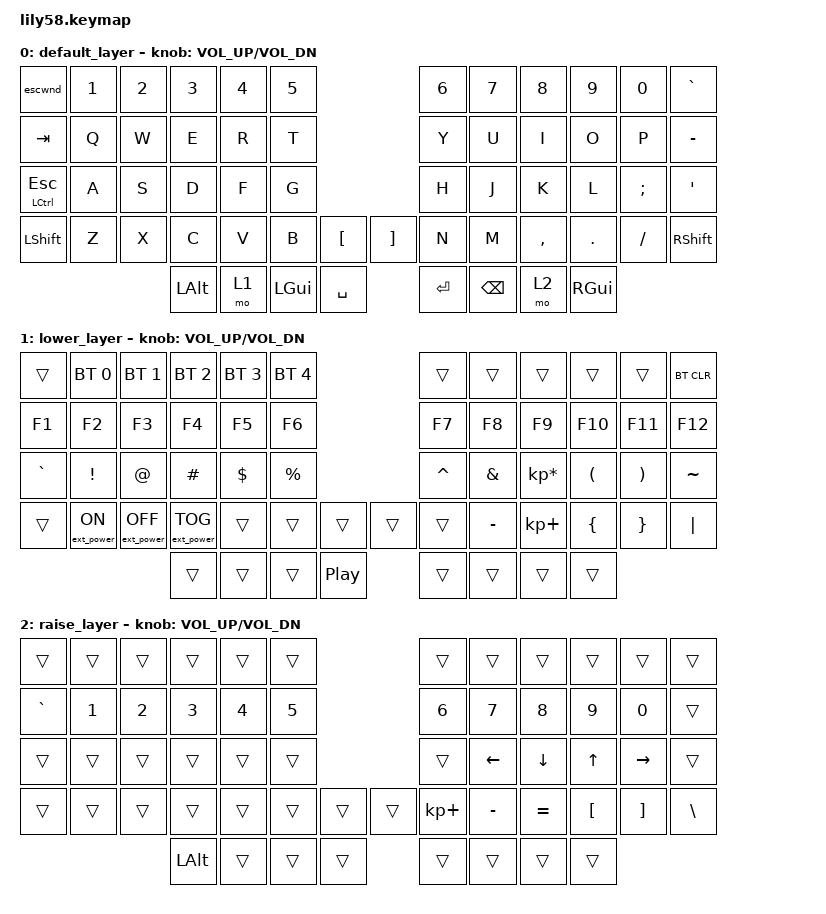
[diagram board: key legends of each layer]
/*
 * Copyright (c) 2020 The ZMK Contributors
 *
 * SPDX-License-Identifier: MIT
 */

#include <behaviors.dtsi>
#include <dt-bindings/zmk/keys.h>
#include <dt-bindings/zmk/bt.h>
#include <dt-bindings/zmk/ext_power.h>

// Sends esc on tap, sends cmd + ` when cmd is held
/ {
    behaviors {
        escwnd: grave_escape {
            compatible = "zmk,behavior-mod-morph";
            label = "ESCAPE_WINDOW";
            #binding-cells = <0>;
            bindings = <&kp ESC>, <&kp GRAVE>;
            mods = <(MOD_LGUI|MOD_LSFT|MOD_RGUI|MOD_RSFT)>;
	    keep-mods = <(MOD_LGUI|MOD_RGUI)>;
        };
    };
};

/ {
	keymap {
		compatible = "zmk,keymap";

		default_layer {
// ------------------------------------------------------------------------------------------------------------
// |  ESC  |  1  |  2  |  3   |  4   |  5   |                   |  6   |  7    |  8    |  9   |   0   |   `   |
// |  TAB  |  Q  |  W  |  E   |  R   |  T   |                   |  Y   |  U    |  I    |  O   |   P   |   -   |
// |  CTRL |  A  |  S  |  D   |  F   |  G   |                   |  H   |  J    |  K    |  L   |   ;   |   '   |
// | SHIFT |  Z  |  X  |  C   |  V   |  B   |   "["  |  |  "]"  |  N   |  M    |  ,    |  .   |   /   | SHIFT |
//                     | ALT  | GUI  | LOWER|  SPACE |  | ENTER | RAISE| BSPC  | GUI   |
			bindings = <
&escwnd       &kp N1 &kp N2 &kp N3   &kp N4   &kp N5                     &kp N6 &kp N7   &kp N8    &kp N9  &kp N0   &kp GRAVE
&kp TAB       &kp Q  &kp W  &kp E    &kp R    &kp T                      &kp Y  &kp U    &kp I     &kp O   &kp P    &kp MINUS
&mt LCTRL ESC &kp A  &kp S  &kp D    &kp F    &kp G                      &kp H  &kp J    &kp K     &kp L   &kp SEMI &kp SQT
&kp LSHFT     &kp Z  &kp X  &kp C    &kp V    &kp B  &kp LBKT   &kp RBKT &kp N  &kp M    &kp COMMA &kp DOT &kp FSLH &kp RSHFT
                            &kp LALT &mo 1    &kp LGUI  &kp SPACE  &kp RET  &kp BSPC     &mo 2 &kp RGUI
			>;

			sensor-bindings = <&inc_dec_kp C_VOL_UP C_VOL_DN>;
		};

		lower_layer {
// ------------------------------------------------------------------------------------------------------------
// |       | BT1 | BT2 |  BT3 |  BT4 |  BT5 |                   |      |       |       |      |       | BTCLR |
// |  F1   |  F2 |  F3 |  F4  |  F5  |  F6  |                   |  F7  |  F8   |  F9   |  F10 |  F11  |  F12  |
// |   `   |  !  |  @  |  #   |  $   |  %   |                   |  ^   |  &    |  *    |  (   |   )   |   ~   |
// |       |     |     |      |      |      |        |  |       |      |  _    |  +    |  {   |   }   |  "|"  |
//                     |      |      |      |        |  |       |      |       |       |
			bindings = <
&trans &bt BT_SEL 0     &bt BT_SEL 1      &bt BT_SEL 2      &bt BT_SEL 3 &bt BT_SEL 4                 &trans    &trans    &trans          &trans    &trans    &bt BT_CLR
&kp F1     &kp F2           &kp F3            &kp F4            &kp F5       &kp F6                       &kp F7    &kp F8    &kp F9          &kp F10   &kp F11   &kp F12
&kp GRAVE  &kp EXCL         &kp AT            &kp HASH          &kp DOLLAR   &kp PRCNT                    &kp CARET &kp AMPS  &kp KP_MULTIPLY &kp LPAR  &kp RPAR  &kp TILDE
&trans     &ext_power EP_ON &ext_power EP_OFF &ext_power EP_TOG &trans       &trans    &trans   &trans    &trans    &kp MINUS &kp KP_PLUS     &kp LBRC  &kp RBRC  &kp PIPE
                                              &trans            &trans       &trans    &kp C_PLAY_PAUSE   &trans    &trans    &trans    &trans
			>;

			sensor-bindings = <&inc_dec_kp C_VOL_UP C_VOL_DN>;
		};

		raise_layer {
// ------------------------------------------------------------------------------------------------------------
// |       |     |     |      |      |      |                   |      |       |       |      |       |       |
// |    `  |  1  |  2  |  3   |  4   |  5   |                   |  6   |   7   |   8   |  9   |   0   |       |
// |       |     |     |      |      |      |                   |      |  <-  |   v   |   ^   |  ->   |       |
// |       |     |     |      |      |      |        |  |       |  +   |   -   |   =   |  [   |   ]   |   \   |
//                     |      |      |      |        |  |       |      |       |       |
			bindings = <
&trans    &trans &trans &trans   &trans  &trans                 &trans      &trans    &trans    &trans    &trans    &trans
&kp GRAVE &kp N1 &kp N2 &kp N3   &kp N4  &kp N5                 &kp N6      &kp N7    &kp N8    &kp N9    &kp N0    &trans
&trans    &trans &trans &trans   &trans  &trans                 &trans      &kp LEFT    &kp DOWN  &kp UP    &kp RIGHT &trans
&trans    &trans &trans &trans   &trans  &trans &trans   &trans &kp KP_PLUS &kp MINUS &kp EQUAL &kp LBKT  &kp RBKT  &kp BSLH
                        &kp LALT &trans  &trans &trans   &trans &trans      &trans    &trans
			>;

			sensor-bindings = <&inc_dec_kp C_VOL_UP C_VOL_DN>;
		};
	};
};
